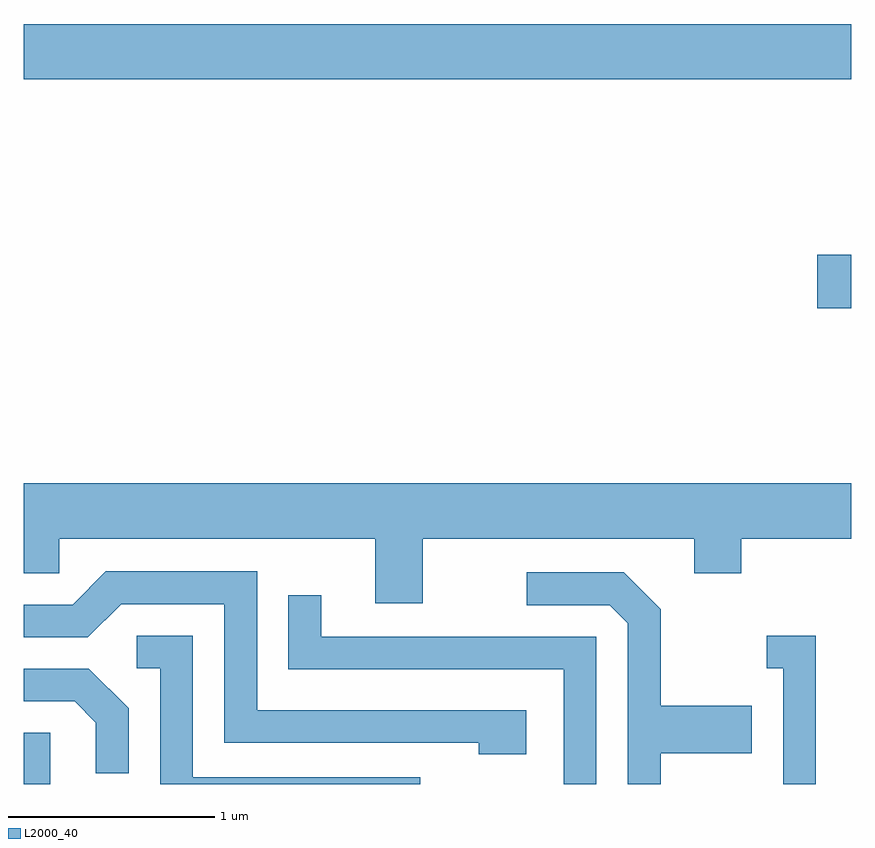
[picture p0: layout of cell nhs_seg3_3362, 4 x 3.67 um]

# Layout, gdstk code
import gdstk
lib = gdstk.Library(unit=1e-6, precision=1e-09)
def R(c, l, rs):  # rectangles x0, y0, x1, y1
    for r in rs: c.add(gdstk.rectangle(r[:2], r[2:], *l))
def P(c, l, *ps):  # polygons
    for p in ps: c.add(gdstk.Polygon(p, *l))
L2000_40 = (2000, 40)

nhs_seg3_3362 = lib.new_cell('nhs_seg3_3362')
R(nhs_seg3_3362, L2000_40, [(283.611,1175.892,283.739,1176.139), (287.446,1178.191,287.611,1178.449), (283.611,1179.296,287.611,1179.564)])
P(nhs_seg3_3362, L2000_40, [(285.539,1177.076),(286.851,1177.076),(286.851,1176.911),(287.079,1176.911),(287.079,1177.076),(287.611,1177.076),(287.611,1177.344),(283.611,1177.344),(283.611,1176.911),(283.784,1176.911),(283.784,1177.076),(285.311,1177.076),(285.311,1176.766),(285.539,1176.766)],
  [(286.039,1176.249),(284.739,1176.249),(284.739,1176.919),(284.009,1176.919),(283.849,1176.759),(283.611,1176.759),(283.611,1176.601),(283.922,1176.601),(284.082,1176.761),(284.581,1176.761),(284.581,1176.091),(285.811,1176.091),(285.811,1176.036),(286.039,1176.036)],
  [(286.689,1176.041),(287.129,1176.041),(287.129,1176.269),(286.689,1176.269),(286.689,1176.737),(286.512,1176.914),(286.043,1176.914),(286.043,1176.756),(286.444,1176.756),(286.531,1176.669),(286.531,1175.892),(286.689,1175.892)],
  [(286.379,1176.604),(285.049,1176.604),(285.049,1176.803),(284.891,1176.803),(284.891,1176.446),(286.221,1176.446),(286.221,1175.892),(286.379,1175.892)],
  [(285.528,1175.924),(284.429,1175.924),(284.429,1176.609),(284.158,1176.609),(284.158,1176.451),(284.271,1176.451),(284.271,1175.892),(285.528,1175.892)],
  [(287.439,1176.609),(287.203,1176.609),(287.203,1176.451),(287.281,1176.451),(287.281,1175.892),(287.439,1175.892)],
  [(284.119,1176.257),(283.927,1176.449),(283.611,1176.449),(283.611,1176.291),(283.859,1176.291),(283.961,1176.189),(283.961,1175.943),(284.119,1175.943)])

lib.write_gds('nhs_seg3_3362.gds')
